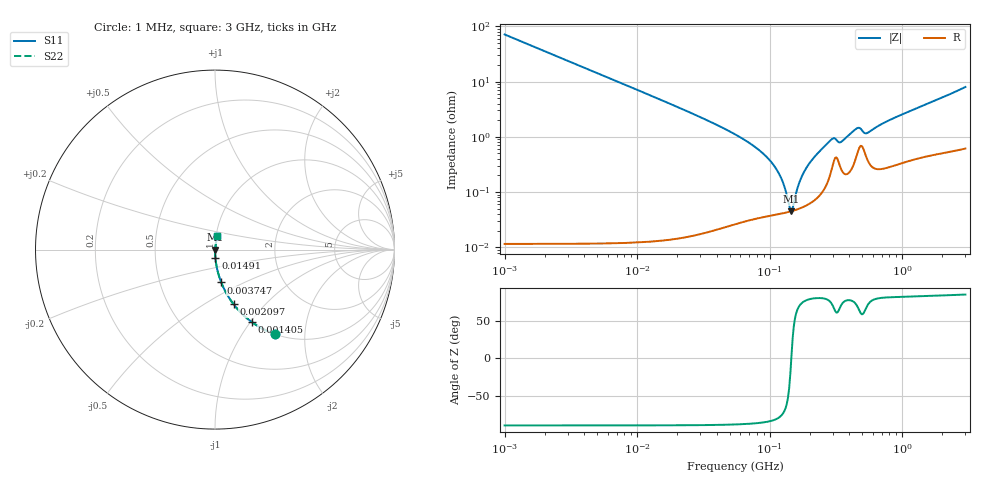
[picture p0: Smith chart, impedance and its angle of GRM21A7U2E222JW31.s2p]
!Murata Part Number: GRM21A7U2E222JW31
!These Parameters are Measured in Series Mode Connection
!Data Generated on Mar 30, 2021
!  o--ll--o
!Port1  Port2
!  o------o
!Operation Temp=25[degC], DC Bias Voltage=0[V]
!Freq. Start=1000[kHz] Stop=3[GHz] 401[Steps]
# Hz S RI R 50
!Freq.(Hz) S11(Real) S11(Imag) S21(Real) S21(Imag) S12(Real) S12(Imag) S22(Real) S22(Imag)
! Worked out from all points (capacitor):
!   401 points, 1 MHz to 3 GHz, reference 50 ohm
!   read as one part in series: C = 2.24 nF near 1.041 MHz
!   lowest |Z| = 44.9 mohm at 146.1 MHz (marker M1)
!   series resonance near 145.7 MHz, so ESL is about 530 pH
!   S11 on the Smith chart (normalised r, x): 1 MHz: 1.00, -1.42; 1.405 MHz: 1.00, -1.01; 2.097 MHz: 1.00, -0.68; 3.747 MHz: 1.00, -0.38; 14.91 MHz: 1.00, -0.09; 3 GHz: 1.01, +0.16
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1000000  0.3364 -0.4724  0.6636 0.4724  0.6636 0.4724  0.3364 -0.4724
1405328  0.2043 -0.4031  0.7957 0.4031  0.7957 0.4031  0.2043 -0.4031
2097170  0.1034 -0.3043  0.8966 0.3043  0.8966 0.3043  0.1034 -0.3043
3747356  0.0349 -0.1832  0.9651 0.1832  0.9651 0.1832  0.0349 -0.1832
3823119  0.0336 -0.1798  0.9664 0.1798  0.9664 0.1798  0.0336 -0.1798
1.461624e7  0.00244 -0.0481  0.9976 0.0481  0.9976 0.0481  0.00244 -0.0481
1.491174e7  0.00235 -0.0471  0.9976 0.0471  0.9976 0.0471  0.00235 -0.0471
5.477226e7  0.000382 -0.0111  0.9996 0.0111  0.9996 0.0111  0.000382 -0.0111
8.173662e7  0.000369 -0.00593  0.9996 0.00593  0.9996 0.00593  0.000369 -0.00593
1.060286e8  0.000388 -0.00315  0.9996 0.00315  0.9996 0.00315  0.000388 -0.00315
1.219755e8  0.000407 -0.00175  0.9996 0.00175  0.9996 0.00175  0.000407 -0.00175
1.403209e8  0.000437 -0.00037  0.9996 0.00037  0.9996 0.00037  0.000437 -0.00037
1.460522e8  0.000448 2.49e-05  0.9996 -2.49e-05  0.9996 -2.49e-05  0.000448 2.49e-05
1.520175e8  0.000461 0.000422  0.9995 -0.000422  0.9995 -0.000422  0.000461 0.000422
1.748812e8  0.000524 0.00184  0.9995 -0.00184  0.9995 -0.00184  0.000524 0.00184
2.094008e8  0.000673 0.00379  0.9993 -0.00379  0.9993 -0.00379  0.000673 0.00379
2.942768e8  0.00268 0.00859  0.9973 -0.00859  0.9973 -0.00859  0.00268 0.00859
3.453811e8  0.00268 0.00755  0.9973 -0.00755  0.9973 -0.00755  0.00268 0.00755
4.570858e8  0.00497 0.0133  0.995 -0.0133  0.995 -0.0133  0.00497 0.0133
5.473095e8  0.00391 0.011  0.9961 -0.011  0.9961 -0.011  0.00391 0.011
8.005644e8  0.00319 0.0197  0.9968 -0.0197  0.9968 -0.0197  0.00319 0.0197
3e9  0.0122 0.0781  0.9878 -0.0781  0.9878 -0.0781  0.0122 0.0781
